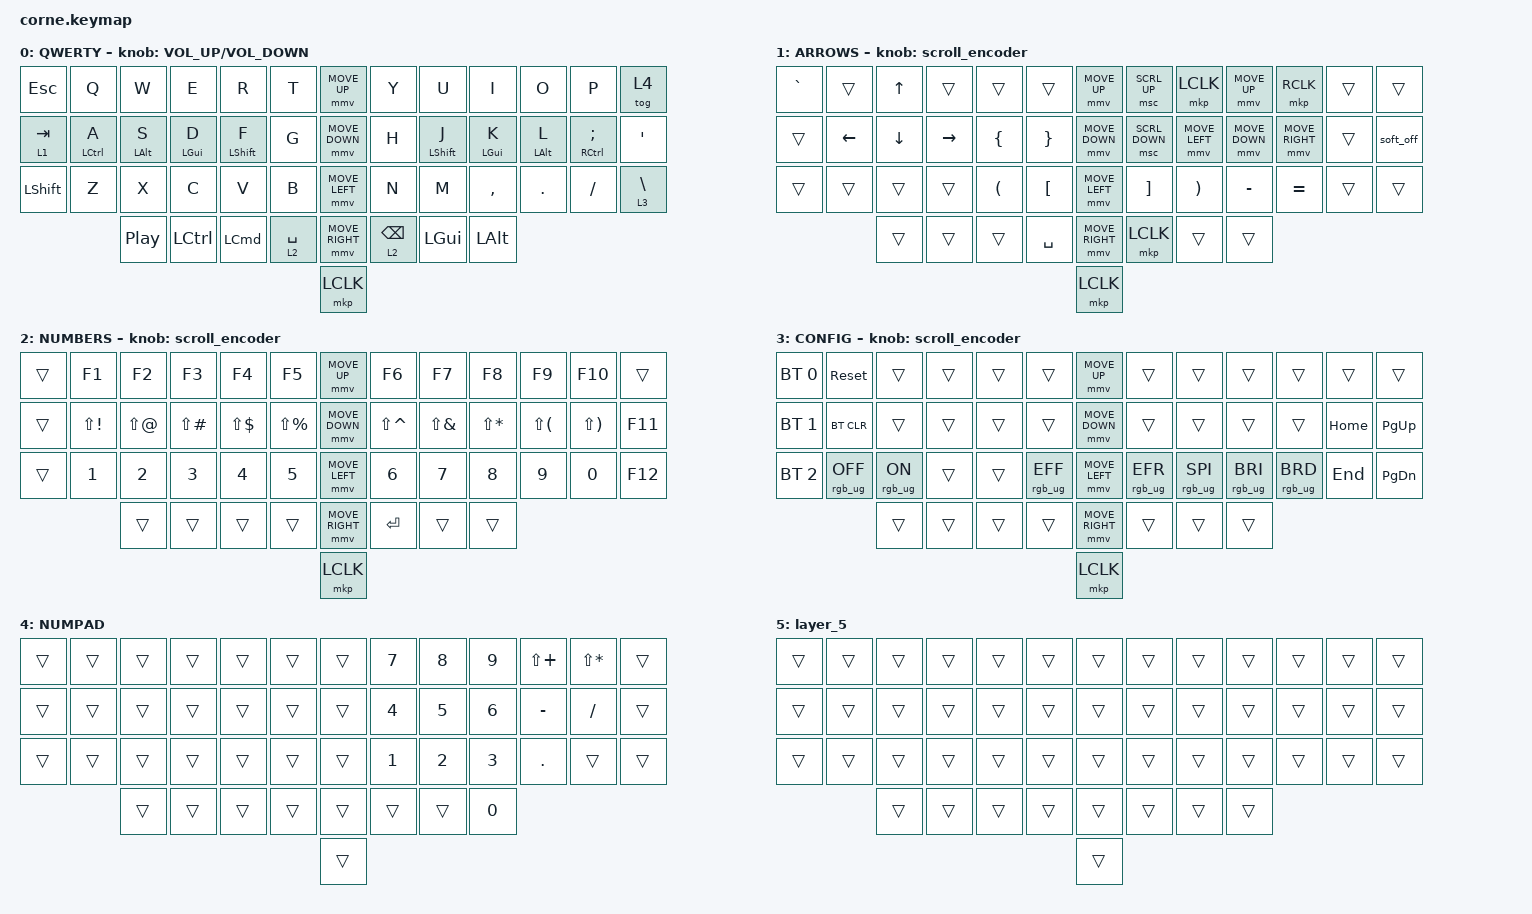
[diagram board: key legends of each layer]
#include <behaviors/mouse_keys.dtsi>
#include <dt-bindings/zmk/mouse.h>
#include <behaviors.dtsi>
#include <dt-bindings/zmk/bt.h>
#include <dt-bindings/zmk/keys.h>
#include <dt-bindings/zmk/outputs.h>
#include <dt-bindings/zmk/rgb.h>

#define ZMK_MOUSE_DEFAULT_MOVE_VAL 1200  // 600
#define ZMK_MOUSE_DEFAULT_SCRL_VAL 20    // 10
#define U_MS_U &mmv MOVE_UP
#define U_MS_D &mmv MOVE_DOWN
#define U_MS_L &mmv MOVE_LEFT
#define U_MS_R &mmv MOVE_RIGHT

&lt { tapping-term-ms = <160>; };

&mt {
    tapping-term-ms = <160>;
    flavor = "tap-preferred";
};

/ {
    behaviors {
        td0: td0 {
            compatible = "zmk,behavior-tap-dance";
            label = "TD0";
            #binding-cells = <0>;
            bindings = <&kp LEFT_SHIFT>, <&kp CAPS>;
        };

        mmv {
            acceleration-exponent = <1>;      // 1
            time-to-max-speed-ms = <900>;    // 40
            delay-ms = <0>;                   // 0
        };

        msc {
            acceleration-exponent = <1>;      // 0
            time-to-max-speed-ms = <400>;      // 500
            delay-ms = <0>;                   // 10
        };
    };

    rgb_encoder: rgb_encoder {
        compatible = "zmk,behavior-sensor-rotate";
        label = "RGB_ENCODER";
        #sensor-binding-cells = <0>;
        bindings = <&rgb_ug RGB_BRI>, <&rgb_ug RGB_BRD>;
    };

    scroll_encoder: scroll_encoder {
        compatible = "zmk,behavior-sensor-rotate";
        #sensor-binding-cells = <0>;
        bindings = <&msc SCRL_DOWN>, <&msc SCRL_UP>;

        tap-ms = <30>;
    };

    combos {
        compatible = "zmk,combos";

        jk_esc {
            bindings = <&kp ESCAPE>;
            key-positions = <21 22>;
        };

        open_paren {
            bindings = <&kp LEFT_PARENTHESIS>;
            key-positions = <2 3>;
        };

        close_paren {
            bindings = <&kp RIGHT_PARENTHESIS>;
            key-positions = <3 4>;
        };

        open_brace {
            bindings = <&kp LEFT_BRACE>;
            key-positions = <15 16>;
        };

        close_brace {
            bindings = <&kp RIGHT_BRACE>;
            key-positions = <17 16>;
        };
    };

    keymap {
        compatible = "zmk,keymap";

        default_layer {
            display-name = "QWERTY";

            // --------------------------------------------------------------------------------
            // |  TAB |  Q  |  W  |  E  |  R  |  T  |                ↑    |  Y  |  U   |  I  |  O  |  P  | BKSP |      &kp UP_ARROW 
            // | SHIFT |  A  |  S  |  D  |  F  |  G  |               ↓    |  H  |  J   |  K  |  L  |  ;  |  '   | 
            // | CTRL |  Z  |  X  |  C  |  V  |  B  |                ←    |  N  |  M   |  ,  |  .  |  /  | ESC  |
            //                    | GUI | LWR | SPC |                →    | ENT | RSE  | ALT |
            //                                                      enter

            bindings = <
&kp ESCAPE      &kp Q               &kp W             &kp E             &kp R             &kp T          &mmv MOVE_UP     &kp Y            &kp U             &kp I           &kp O           &kp P                        &tog 4
&lt 1 TAB       &mt LEFT_CONTROL A  &mt LEFT_ALT S    &mt LEFT_GUI D    &mt LEFT_SHIFT F  &kp G          &mmv MOVE_DOWN   &kp H            &mt LEFT_SHIFT J  &mt LEFT_GUI K  &mt LEFT_ALT L  &mt RIGHT_CONTROL SEMICOLON  &kp SQT
&kp LEFT_SHIFT  &kp Z               &kp X             &kp C             &kp V             &kp B          &mmv MOVE_LEFT   &kp N            &kp M             &kp COMMA       &kp DOT         &kp FSLH                     &lt 3 BACKSLASH
                                    &kp C_PLAY_PAUSE  &kp LEFT_CONTROL  &kp LEFT_COMMAND  &lt 2 SPACE    &mmv MOVE_RIGHT  &lt 2 BACKSPACE  &kp LEFT_GUI      &kp LEFT_ALT
                                                                                                         &mkp LCLK
            >;

            label = "QWERTY";
            sensor-bindings = <&inc_dec_kp C_VOLUME_UP C_VOLUME_DOWN>;
        };

        arrows {
            display-name = "ARROWS";

            // -----------------------------------------------------------------------------------------
            // |  TAB |  !  |  @  |  #  |  $  |  %  |   |  ^  |  &  |  *  |  (  |  )  | BKSP |
            // | CTRL |     |     |     |     |     |   |  -  |  =  |  [  |  ]  |  \  |  `   |
            // | SHFT |     |     |     |     |     |   |  _  |  +  |  {  |  }  | "|" |  ~   |
            //                    | GUI |     | SPC |   | ENT |     | ALT |

            bindings = <
&kp GRAVE  &trans    &kp UP_ARROW  &trans     &trans                &trans              &mmv MOVE_UP     &msc SCRL_UP       &mkp LCLK              &mmv MOVE_UP    &mkp RCLK        &trans  &trans
&trans     &kp LEFT  &kp DOWN      &kp RIGHT  &kp LEFT_BRACE        &kp RIGHT_BRACE     &mmv MOVE_DOWN   &msc SCRL_DOWN     &mmv MOVE_LEFT         &mmv MOVE_DOWN  &mmv MOVE_RIGHT  &trans  &soft_off
&trans     &trans    &trans        &trans     &kp LEFT_PARENTHESIS  &kp LEFT_BRACKET    &mmv MOVE_LEFT   &kp RIGHT_BRACKET  &kp RIGHT_PARENTHESIS  &kp MINUS       &kp EQUAL        &trans  &trans
                     &trans        &trans     &trans                &kp SPACE           &mmv MOVE_RIGHT  &mkp LCLK          &trans                 &trans
                                                                                        &mkp LCLK
            >;

            label = "SYMBOL";
            sensor-bindings = <&scroll_encoder>;
        };

        Numbers {
            display-name = "NUMBERS";
            bindings = <
&trans  &kp F1        &kp F2      &kp F3         &kp F4        &kp F5           &mmv MOVE_UP     &kp F6         &kp F7        &kp F8        &kp F9        &kp F10       &trans
&trans  &kp LS(EXCL)  &kp LS(AT)  &kp LS(POUND)  &kp LS(DLLR)  &kp LS(PRCNT)    &mmv MOVE_DOWN   &kp LS(CARET)  &kp LS(AMPS)  &kp LS(STAR)  &kp LS(LPAR)  &kp LS(RPAR)  &kp F11
&trans  &kp NUMBER_1  &kp N2      &kp N3         &kp N4        &kp N5           &mmv MOVE_LEFT   &kp N6         &kp N7        &kp N8        &kp N9        &kp N0        &kp F12
                      &trans      &trans         &trans        &trans           &mmv MOVE_RIGHT  &kp ENTER      &trans        &trans
                                                                                &mkp LCLK
            >;

            label = "FN";
            sensor-bindings = <&scroll_encoder>;
        };

        config {
            label = "NUMBER";
            display-name = "CONFIG";
            bindings = <
&bt BT_SEL 0  &sys_reset       &trans          &trans  &trans  &trans             &mmv MOVE_UP     &trans           &trans           &trans           &trans           &trans    &trans
&bt BT_SEL 1  &bt BT_CLR       &trans          &trans  &trans  &trans             &mmv MOVE_DOWN   &trans           &trans           &trans           &trans           &kp HOME  &kp PG_UP
&bt BT_SEL 2  &rgb_ug RGB_OFF  &rgb_ug RGB_ON  &trans  &trans  &rgb_ug RGB_EFF    &mmv MOVE_LEFT   &rgb_ug RGB_EFR  &rgb_ug RGB_SPI  &rgb_ug RGB_BRI  &rgb_ug RGB_BRD  &kp END   &kp PG_DN
                               &trans          &trans  &trans  &trans             &mmv MOVE_RIGHT  &trans           &trans           &trans
                                                                                  &mkp LCLK
            >;

            sensor-bindings = <&scroll_encoder>;
        };

        NUMPAD {
            bindings = <
&trans  &trans  &trans  &trans  &trans  &trans    &trans  &kp N7  &kp N8  &kp N9  &kp LS(PLUS)  &kp LS(STAR)  &trans
&trans  &trans  &trans  &trans  &trans  &trans    &trans  &kp N4  &kp N5  &kp N6  &kp MINUS     &kp FSLH      &trans
&trans  &trans  &trans  &trans  &trans  &trans    &trans  &kp N1  &kp N2  &kp N3  &kp DOT       &trans        &trans
                &trans  &trans  &trans  &trans    &trans  &trans  &trans  &kp N0
                                                  &trans
            >;
        };

        layer_5 {
            bindings = <
&trans  &trans  &trans  &trans  &trans  &trans    &trans  &trans  &trans  &trans  &trans  &trans  &trans
&trans  &trans  &trans  &trans  &trans  &trans    &trans  &trans  &trans  &trans  &trans  &trans  &trans
&trans  &trans  &trans  &trans  &trans  &trans    &trans  &trans  &trans  &trans  &trans  &trans  &trans
                &trans  &trans  &trans  &trans    &trans  &trans  &trans  &trans
                                                  &trans
            >;
        };
    };
};
